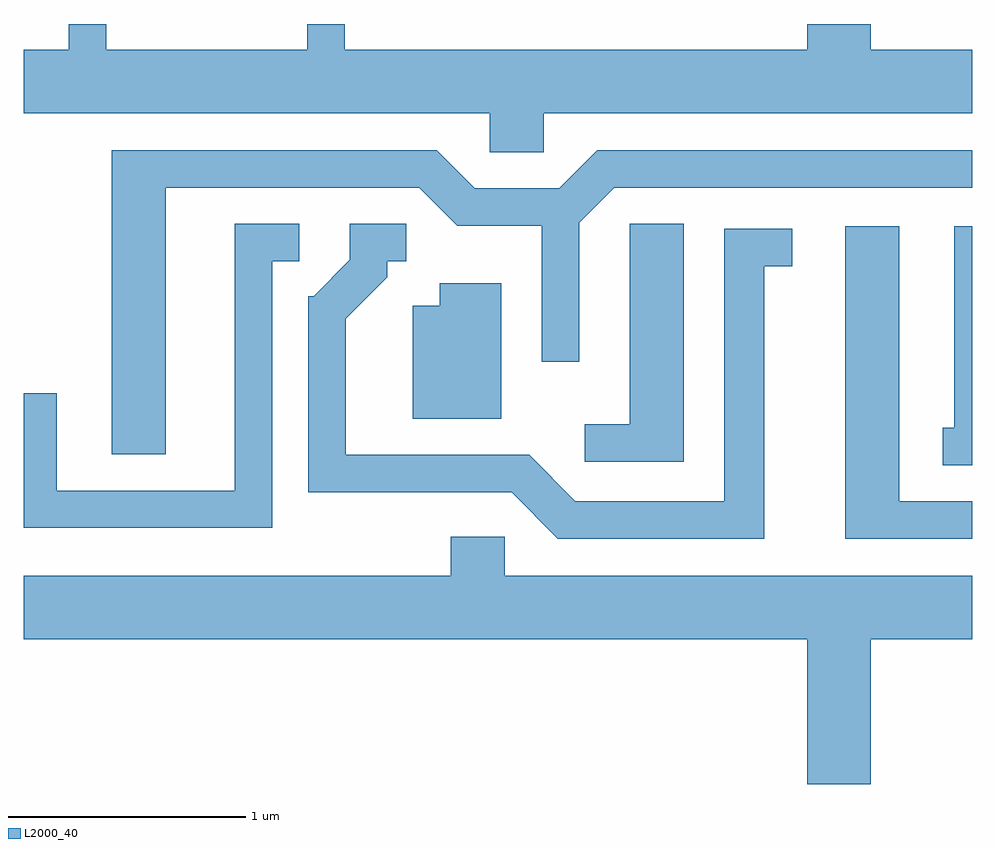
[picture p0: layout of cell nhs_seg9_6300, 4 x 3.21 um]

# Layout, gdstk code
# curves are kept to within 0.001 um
import gdstk
lib = gdstk.Library(unit=1e-6, precision=1e-09)
def P(c, l, *ps):  # polygons
    for p in ps: c.add(gdstk.Polygon(p, *l))
L2000_40 = (2000, 40)

nhs_seg9_6300 = lib.new_cell('nhs_seg9_6300')
P(nhs_seg9_6300, L2000_40, [(373.804,1974.056),(375.611,1974.056),(375.611,1974.324),(375.184,1974.324),(375.184,1974.432),(374.916,1974.432),(374.916,1974.324),(372.964,1974.324),(372.964,1974.432),(372.806,1974.432),(372.806,1974.324),(371.959,1974.324),(371.959,1974.432),(371.801,1974.432),(371.801,1974.324),(371.611,1974.324),(371.611,1974.056),(373.576,1974.056),(373.576,1973.891),(373.804,1973.891)],
  [(372.209,1973.741),(373.279,1973.741),(373.439,1973.581),(373.796,1973.581),(373.796,1973.008),(373.954,1973.008),(373.954,1973.594),(374.102,1973.741),(375.611,1973.741),(375.611,1973.899),(374.029,1973.899),(373.869,1973.739),(373.512,1973.739),(373.352,1973.899),(371.981,1973.899),(371.981,1972.616),(372.209,1972.616)],
  [(374.734,1973.411),(374.853,1973.411),(374.853,1973.569),(374.566,1973.569),(374.566,1972.419),(373.937,1972.419),(373.742,1972.614),(372.969,1972.614),(372.969,1973.189),(373.144,1973.364),(373.144,1973.431),(373.223,1973.431),(373.223,1973.589),(372.986,1973.589),(372.986,1973.437),(372.834,1973.284),(372.811,1973.284),(372.811,1972.456),(373.669,1972.456),(373.864,1972.261),(374.734,1972.261)],
  [(372.659,1973.431),(372.773,1973.431),(372.773,1973.589),(372.501,1973.589),(372.501,1972.464),(371.749,1972.464),(371.749,1972.874),(371.611,1972.874),(371.611,1972.306),(372.659,1972.306)],
  [(374.394,1973.589),(374.166,1973.589),(374.166,1972.744),(373.978,1972.744),(373.978,1972.586),(374.394,1972.586)],
  [(375.611,1972.419),(375.304,1972.419),(375.304,1973.579),(375.076,1973.579),(375.076,1972.261),(375.611,1972.261)],
  [(375.611,1973.579),(375.536,1973.579),(375.536,1972.729),(375.488,1972.729),(375.488,1972.571),(375.611,1972.571)],
  [(373.624,1973.339),(373.366,1973.339),(373.366,1973.244),(373.251,1973.244),(373.251,1972.766),(373.624,1972.766)],
  [(375.184,1971.836),(375.611,1971.836),(375.611,1972.104),(373.639,1972.104),(373.639,1972.269),(373.411,1972.269),(373.411,1972.104),(371.611,1972.104),(371.611,1971.836),(374.916,1971.836),(374.916,1971.226),(375.184,1971.226)])

lib.write_gds('nhs_seg9_6300.gds')
